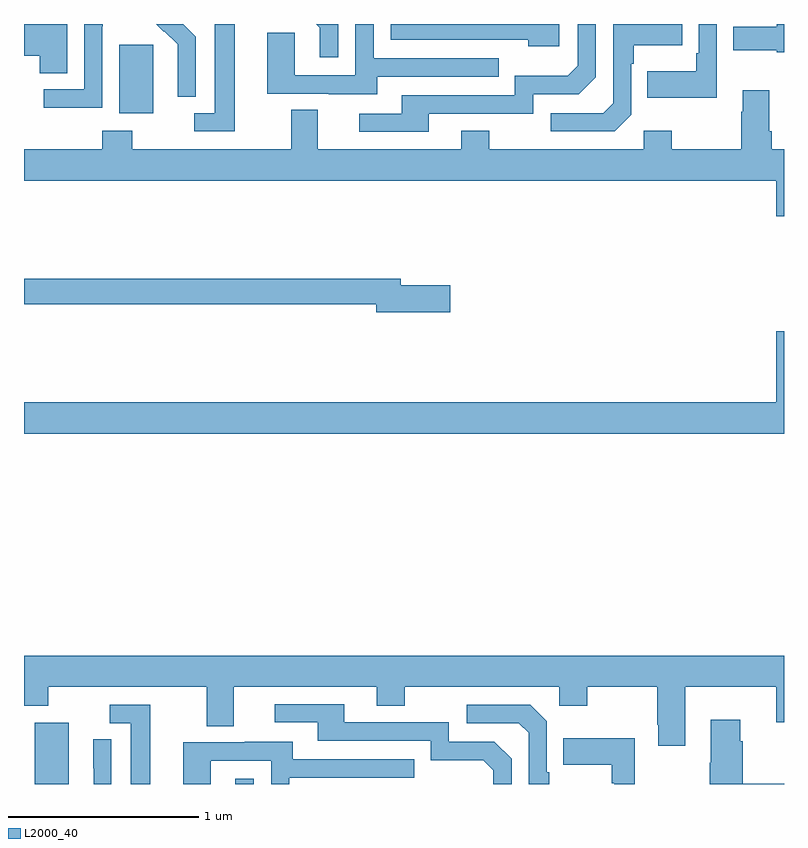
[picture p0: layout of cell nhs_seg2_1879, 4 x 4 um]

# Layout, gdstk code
import gdstk
lib = gdstk.Library(unit=1e-6, precision=1e-09)
def R(c, l, rs):  # rectangles x0, y0, x1, y1
    for r in rs: c.add(gdstk.rectangle(r[:2], r[2:], *l))
def P(c, l, *ps):  # polygons
    for p in ps: c.add(gdstk.Polygon(p, *l))
L2000_40 = (2000, 40)

nhs_seg2_1879 = lib.new_cell('nhs_seg2_1879')
R(nhs_seg2_1879, L2000_40, [(209.057,637.8,209.236,638.122), (210.113,637.8,210.21,637.828), (209.501,641.33,209.68,641.691)])
P(nhs_seg2_1879, L2000_40, [(212.646,641.8),(212.55,641.8),(212.55,641.647),(212.538,641.647),(212.538,641.551),(212.281,641.551),(212.281,641.411),(212.646,641.411)],
  [(211.816,641.8),(210.93,641.8),(210.93,641.718),(211.655,641.718),(211.655,641.684),(211.816,641.684)],
  [(209.227,641.8),(209,641.8),(209,641.633),(209.084,641.633),(209.084,641.542),(209.227,641.542)],
  [(212.196,641.322),(212.196,641.591),(212.209,641.591),(212.209,641.687),(212.465,641.687),(212.465,641.8),(212.1,641.8),(212.1,641.382),(212.049,641.331),(211.773,641.331),(211.773,641.235),(212.109,641.235)],
  [(210.654,641.8),(210.538,641.8),(210.557,641.781),(210.557,641.625),(210.654,641.625)],
  [(210.859,641.523),(211.499,641.523),(211.499,641.619),(210.84,641.619),(210.84,641.8),(210.744,641.8),(210.744,641.529),(210.426,641.529),(210.426,641.753),(210.281,641.753),(210.281,641.433),(210.605,641.433),(210.605,641.429),(210.859,641.429)],
  [(210.109,641.8),(210.005,641.8),(210.005,641.331),(209.895,641.331),(209.895,641.235),(210.109,641.235)],
  [(211.129,641.328),(211.68,641.328),(211.68,641.43),(211.92,641.43),(212.01,641.52),(212.01,641.8),(211.914,641.8),(211.914,641.58),(211.861,641.527),(211.584,641.527),(211.584,641.424),(210.989,641.424),(210.989,641.328),(210.765,641.328),(210.765,641.232),(211.129,641.232)],
  [(209.904,641.734),(209.838,641.8),(209.696,641.8),(209.736,641.76),(209.739,641.763),(209.81,641.693),(209.81,641.57),(209.808,641.57),(209.808,641.416),(209.904,641.416)],
  [(209.412,641.788),(209.415,641.788),(209.415,641.8),(209.316,641.8),(209.316,641.457),(209.103,641.457),(209.103,641.359),(209.412,641.359)],
  [(213,641.798),(212.963,641.798),(212.963,641.785),(212.733,641.785),(212.733,641.663),(212.963,641.663),(212.963,641.651),(213,641.651)],
  [(213,641.14),(212.936,641.14),(212.936,641.236),(212.923,641.236),(212.923,641.452),(212.783,641.452),(212.783,641.339),(212.776,641.339),(212.776,641.14),(212.409,641.14),(212.409,641.239),(212.262,641.239),(212.262,641.14),(211.449,641.14),(211.449,641.239),(211.301,641.239),(211.301,641.14),(210.547,641.14),(210.547,641.348),(210.407,641.348),(210.407,641.14),(209.571,641.14),(209.571,641.239),(209.411,641.239),(209.411,641.14),(209,641.14),(209,640.976),(212.96,640.976),(212.96,640.788),(213,640.788)],
  [(211.243,640.424),(210.982,640.424),(210.982,640.46),(209,640.46),(209,640.324),(210.854,640.324),(210.854,640.282),(211.243,640.282)],
  [(213,640.183),(212.96,640.183),(212.96,639.808),(209,639.808),(209,639.644),(213,639.644)],
  [(212.479,638.312),(212.96,638.312),(212.96,638.124),(213,638.124),(213,638.476),(209,638.476),(209,638.213),(209.127,638.213),(209.127,638.312),(209.963,638.312),(209.963,638.104),(210.103,638.104),(210.103,638.312),(210.857,638.312),(210.857,638.213),(211.005,638.213),(211.005,638.312),(211.818,638.312),(211.818,638.213),(211.965,638.213),(211.965,638.312),(212.332,638.312),(212.332,638.113),(212.339,638.113),(212.339,638.001),(212.479,638.001)],
  [(211.566,637.932),(211.476,638.022),(211.236,638.022),(211.236,638.124),(210.685,638.124),(210.685,638.22),(210.321,638.22),(210.321,638.124),(210.545,638.124),(210.545,638.028),(211.14,638.028),(211.14,637.925),(211.417,637.925),(211.47,637.872),(211.47,637.8),(211.566,637.8)],
  [(211.765,637.861),(211.752,637.861),(211.752,638.13),(211.665,638.217),(211.329,638.217),(211.329,638.121),(211.605,638.121),(211.656,638.07),(211.656,637.8),(211.765,637.8)],
  [(209.665,638.217),(209.451,638.217),(209.451,638.121),(209.561,638.121),(209.561,637.8),(209.665,637.8)],
  [(213,637.802),(212.783,637.802),(212.783,638.024),(212.77,638.024),(212.77,638.137),(212.615,638.137),(212.615,637.913),(212.608,637.913),(212.608,637.8),(213,637.8)],
  [(212.215,638.041),(211.837,638.041),(211.837,637.901),(212.094,637.901),(212.094,637.805),(212.106,637.805),(212.106,637.8),(212.215,637.8)],
  [(209.46,638.036),(209.364,638.036),(209.364,637.882),(209.366,637.882),(209.366,637.8),(209.46,637.8)],
  [(209.982,637.923),(210.3,637.923),(210.3,637.8),(210.396,637.8),(210.396,637.833),(211.055,637.833),(211.055,637.929),(210.415,637.929),(210.415,638.023),(210.161,638.023),(210.161,638.019),(209.837,638.019),(209.837,637.8),(209.982,637.8)])

lib.write_gds('nhs_seg2_1879.gds')
